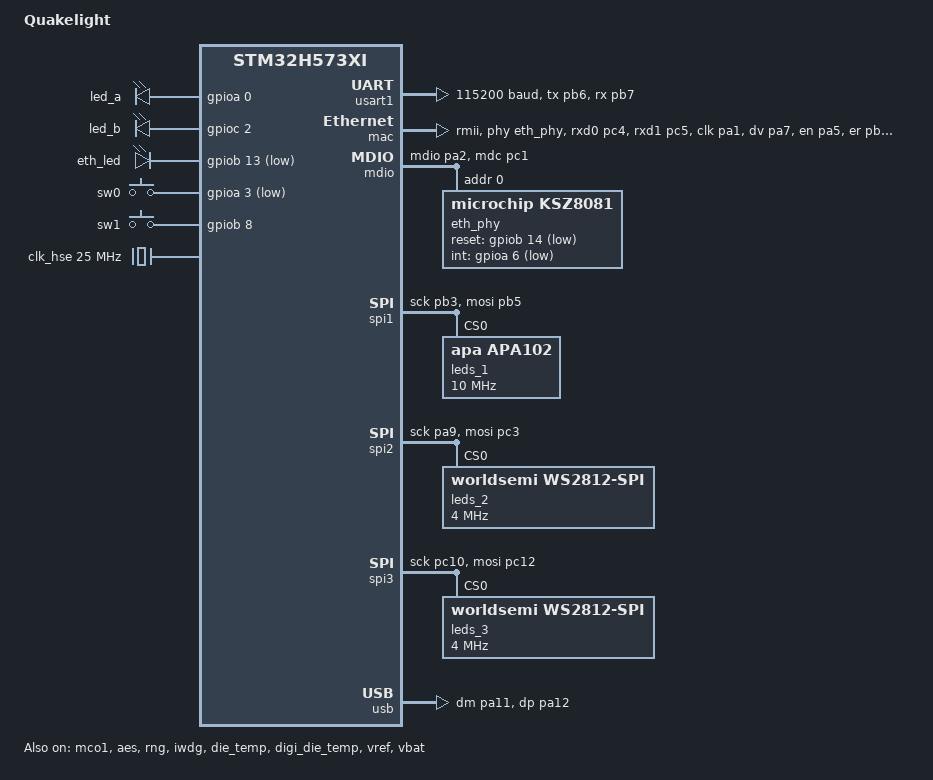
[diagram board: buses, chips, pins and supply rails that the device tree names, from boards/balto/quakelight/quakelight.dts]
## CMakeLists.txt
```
set(BOARD_ROOT ${CMAKE_CURRENT_LIST_DIR})
set(BOARD quakelight)

cmake_minimum_required(VERSION 3.20.0)
find_package(Zephyr REQUIRED HINTS $ENV{ZEPHYR_BASE})
project(quakelight)

target_sources(app PRIVATE
	src/blink.c
	src/keepalive.c
	src/leds.c
	src/main.c
	src/msg_listener.c
	src/net_led.c
	src/temp.c
)

target_sources_ifdef(CONFIG_WIFI app PRIVATE src/wifi_creds.c)
```

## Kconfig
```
config ETH_STM32_MULTICAST_FILTER
	default y

config SPI_STM32_DMA
	default y

config SPI_PL022_DMA
	default y

source "Kconfig.zephyr"
```

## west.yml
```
manifest:
  remotes:
    - name: zephyrproject-rtos
      url-base: https://github.com/zephyrproject-rtos

  projects:
    - name: zephyr
      remote: zephyrproject-rtos
      revision: main
      import:
        name-allowlist:
          - cmsis_6
          - hal_espressif
          - hal_infineon
          - hal_nxp
          - hal_rpi_pico
          - hal_stm32
          - mbedtls
          - segger
```

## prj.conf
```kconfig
CONFIG_GPIO=y
CONFIG_LOG=y
CONFIG_LOG_PROCESS_THREAD_SLEEP_MS=100
CONFIG_COMPILER_TRACK_MACRO_EXPANSION=n
CONFIG_REQUIRES_FULL_LIBC=y
CONFIG_ENTROPY_GENERATOR=y
CONFIG_MAIN_STACK_SIZE=1024

CONFIG_POSIX_API=y

CONFIG_THREAD_NAME=y

CONFIG_SHELL=y
CONFIG_LED=y
CONFIG_REBOOT=y
CONFIG_INPUT=y
CONFIG_DMA=y
CONFIG_LED_STRIP=y
CONFIG_SENSOR=y

CONFIG_LED_SHELL=y
CONFIG_NET_SHELL=y
CONFIG_INPUT_SHELL=y
CONFIG_INPUT_EVENT_DUMP=y

CONFIG_NETWORKING=y
CONFIG_NET_IPV4=y
CONFIG_NET_ARP=y
CONFIG_NET_UDP=y
CONFIG_NET_DHCPV4=y
CONFIG_NET_LOG=y
CONFIG_NET_SOCKETS=y
CONFIG_NET_SOCKETS_POLL_MAX=4

CONFIG_NET_HOSTNAME_ENABLE=y
CONFIG_NET_HOSTNAME="quakelight"
CONFIG_NET_HOSTNAME_DYNAMIC=y

CONFIG_NET_PKT_RX_COUNT=32
CONFIG_NET_PKT_TX_COUNT=32
CONFIG_NET_BUF_RX_COUNT=256
CONFIG_NET_BUF_TX_COUNT=256

CONFIG_NET_IF_UNICAST_IPV6_ADDR_COUNT=4
CONFIG_NET_IF_MCAST_IPV6_ADDR_COUNT=5
CONFIG_NET_IF_IPV6_PREFIX_COUNT=2

CONFIG_NET_IF_UNICAST_IPV4_ADDR_COUNT=2
CONFIG_NET_IF_MCAST_IPV4_ADDR_COUNT=5
```

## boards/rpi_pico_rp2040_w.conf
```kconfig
CONFIG_TEST_RANDOM_GENERATOR=y

#CONFIG_FLASH=y
#CONFIG_FLASH_PAGE_LAYOUT=y
#CONFIG_FLASH_MAP=y
#CONFIG_ZMS=y
#CONFIG_SETTINGS=y
#CONFIG_SETTINGS_SHELL=y
#CONFIG_SETTINGS_ZMS=y

CONFIG_NETWORKING=y
CONFIG_NET_L2_ETHERNET=y

CONFIG_WIFI=y
CONFIG_WIFI_CREDENTIALS=y
CONFIG_NET_L2_WIFI_SHELL=y
CONFIG_WIFI_CREDENTIALS_STATIC=y
CONFIG_WIFI_CREDENTIALS_STATIC_SSID="wifi-ssid"
CONFIG_WIFI_CREDENTIALS_STATIC_PASSWORD="wifi-pass"

CONFIG_SYSTEM_WORKQUEUE_STACK_SIZE=2048
CONFIG_SHELL_STACK_SIZE=4096
CONFIG_MAIN_STACK_SIZE=2048
CONFIG_NET_TX_STACK_SIZE=2048
CONFIG_NET_RX_STACK_SIZE=2048
CONFIG_NET_MGMT_EVENT_STACK_SIZE=1024
```

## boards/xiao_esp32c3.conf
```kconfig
CONFIG_FLASH=y
CONFIG_FLASH_PAGE_LAYOUT=y
CONFIG_FLASH_MAP=y
CONFIG_NVS=y
CONFIG_SETTINGS=y
CONFIG_SETTINGS_SHELL=y
CONFIG_SETTINGS_NVS=y

CONFIG_NETWORKING=y
CONFIG_NET_L2_ETHERNET=y

CONFIG_WIFI=y
CONFIG_WIFI_CREDENTIALS=y
CONFIG_NET_L2_WIFI_SHELL=y

CONFIG_SYSTEM_WORKQUEUE_STACK_SIZE=2048
CONFIG_SHELL_STACK_SIZE=4096
CONFIG_MAIN_STACK_SIZE=2048
CONFIG_NET_TX_STACK_SIZE=2048
CONFIG_NET_RX_STACK_SIZE=2048
CONFIG_NET_MGMT_EVENT_STACK_SIZE=1024
```

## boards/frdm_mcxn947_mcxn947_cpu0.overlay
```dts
#include <zephyr/dt-bindings/led/led.h>

&arduino_spi {
	leds_1: ws2812@0 {
		compatible = "worldsemi,ws2812-spi";

		reg = <0>;
		spi-max-frequency = <DT_FREQ_M(4)>;

		chain-length = <370>;
		color-mapping = <LED_COLOR_ID_GREEN
				 LED_COLOR_ID_RED
				 LED_COLOR_ID_BLUE>;
		spi-one-frame = <0x70>;
		spi-zero-frame = <0x40>;
	};
};

&mikrobus_spi {
	status = "okay";

	leds_2: ws2812@0 {
		compatible = "worldsemi,ws2812-spi";

		reg = <0>;
		spi-max-frequency = <DT_FREQ_M(4)>;

		chain-length = <370>;
		color-mapping = <LED_COLOR_ID_GREEN
				 LED_COLOR_ID_RED
				 LED_COLOR_ID_BLUE>;
		spi-one-frame = <0x70>;
		spi-zero-frame = <0x40>;
	};
};
```

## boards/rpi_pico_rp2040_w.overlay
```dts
#include <zephyr/dt-bindings/dma/rpi-pico-dma-rp2040.h>
#include <zephyr/dt-bindings/led/led.h>

&flash0 {
	partitions {
		partition@100 {
			reg = <0x100 (DT_SIZE_M(2) - 0x100 - 0x10000)>;
		};

		storage_partition: partition@1f0000 {
			label = "storage";
			reg = <(DT_SIZE_M(2) - 0x10000) 0x00010000>;
		};
	};
};

&spi0 {
	dmas = <&dma 0 RPI_PICO_DMA_SLOT_SPI0_TX 0>,
	       <&dma 1 RPI_PICO_DMA_SLOT_SPI0_RX 0>;
	dma-names = "tx", "rx";

	leds_1: ws2812@0 {
		compatible = "worldsemi,ws2812-spi";

		reg = <0>;
		spi-max-frequency = <DT_FREQ_M(4)>;

		chain-length = <370>;
		color-mapping = <LED_COLOR_ID_GREEN
				 LED_COLOR_ID_RED
				 LED_COLOR_ID_BLUE>;
		spi-one-frame = <0x70>;
		spi-zero-frame = <0x40>;
	};
};

&pinctrl {
	spi1_default: spi1_default {
		group1 {
			pinmux = <SPI1_CSN_P13>, <SPI1_SCK_P10>, <SPI1_TX_P11>;
		};

		group2 {
			pinmux = <SPI1_RX_P12>;
			input-enable;
		};
	};
};

&spi1 {
	clock-frequency = <DT_FREQ_M(8)>;
	status = "okay";
	pinctrl-0 = <&spi1_default>;
	pinctrl-names = "default";

	dmas = <&dma 2 RPI_PICO_DMA_SLOT_SPI1_TX 0>,
	       <&dma 3 RPI_PICO_DMA_SLOT_SPI1_RX 0>;
	dma-names = "tx", "rx";

	leds_2: ws2812@0 {
		compatible = "worldsemi,ws2812-spi";

		reg = <0>;
		spi-max-frequency = <DT_FREQ_M(4)>;

		chain-length = <370>;
		color-mapping = <LED_COLOR_ID_GREEN
				 LED_COLOR_ID_RED
				 LED_COLOR_ID_BLUE>;
		spi-one-frame = <0x70>;
		spi-zero-frame = <0x40>;
	};
};

&dma {
	status = "okay";
};
```

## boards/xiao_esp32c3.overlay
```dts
#include <zephyr/dt-bindings/led/led.h>

&spi2 {
	line-idle-low;

	dma-enabled;
	dmas = <&dma 0>, <&dma 1>;
	dma-names = "rx", "tx";

	leds_1: ws2812@0 {
		compatible = "worldsemi,ws2812-spi";

		reg = <0>;
		spi-max-frequency = <DT_FREQ_M(4)>;

		chain-length = <370>;
		color-mapping = <LED_COLOR_ID_GREEN
				 LED_COLOR_ID_RED
				 LED_COLOR_ID_BLUE>;
		spi-one-frame = <0x70>;
		spi-zero-frame = <0x40>;
	};
};

&pinctrl {
	i2s_default: i2s_default {
		group1 {
			pinmux = <I2S_O_SD_GPIO2>;
		};
	};
};

&i2s {
	status = "okay";

	pinctrl-0 = <&i2s_default>;
	pinctrl-names = "default";

	leds_2: ws2812@0 {
		compatible = "worldsemi,ws2812-i2s";
		reg = <0>;

		chain-length = <370>;
		color-mapping = <LED_COLOR_ID_GREEN
				 LED_COLOR_ID_RED
				 LED_COLOR_ID_BLUE>;
		reset-delay = <500>;
	};
};

&dma {
	status = "okay";
};
```

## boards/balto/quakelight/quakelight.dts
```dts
/dts-v1/;
#include <st/h5/stm32h573Xi.dtsi>
#include <st/h5/stm32h573rivx-pinctrl.dtsi>
#include <zephyr/dt-bindings/input/input-event-codes.h>
#include <zephyr/dt-bindings/led/led.h>

/ {
	model = "Quakelight";
	compatible = "balto,quakelight";

	chosen {
		zephyr,console = &usart1;
		zephyr,shell-uart = &usart1;
		zephyr,sram = &sram1;
		zephyr,flash = &flash0;
	};

	leds {
		compatible = "gpio-leds";

		led_a: led_a {
			gpios = <&gpioa 0 GPIO_ACTIVE_HIGH>;
		};

		led_b: led_b {
			gpios = <&gpioc 2 GPIO_ACTIVE_HIGH>;
		};

		eth_led: eth_led_0 {
			gpios = <&gpiob 13 GPIO_ACTIVE_LOW>;
		};
	};

	gpio_keys {
		compatible = "gpio-keys";

		sw0 {
			gpios = <&gpioa 3 (GPIO_ACTIVE_LOW | GPIO_PULL_UP)>;
			zephyr,code = <INPUT_KEY_0>;
		};

		sw1 {
			gpios = <&gpiob 8 GPIO_ACTIVE_HIGH>;
			zephyr,code = <INPUT_KEY_1>;
		};
	};

	aliases {
		led0 = &led_a;
		watchdog0 = &iwdg;
		die-temp0 = &die_temp;
		die-temp1 = &digi_die_temp;
		volt-sensor0 = &vref;
		volt-sensor1 = &vbat;
	};
};

&clk_hsi48 {
	status = "okay";
};

&clk_hse {
	clock-frequency = <DT_FREQ_M(25)>;
	status = "okay";
};

&pll {
	div-m = <5>;
	mul-n = <96>;
	div-p = <2>;
	div-q = <6>;
	div-r = <2>;
	clocks = <&clk_hse>;
	status = "okay";
};

&rcc {
	clocks = <&pll>;
	clock-frequency = <DT_FREQ_M(240)>;
	ahb-prescaler = <1>;
	apb1-prescaler = <2>;
	apb2-prescaler = <1>;
	apb3-prescaler = <1>;
};

&usart1 {
	pinctrl-0 = <&usart1_tx_pb6 &usart1_rx_pb7>;
	pinctrl-names = "default";
	current-speed = <115200>;
	status = "okay";
};

&mco1 {
	clocks = <&rcc STM32_SRC_HSE MCO1_SEL(2)>;
	prescaler = <MCO1_PRE(MCO_PRE_DIV_1)>;
	pinctrl-0 = <&rcc_mco_1_pa8>;
	pinctrl-names = "default";
	status = "okay";
};

&aes {
	status = "okay";
};

&rng {
	status = "okay";
};

&mac {
	status = "okay";
	pinctrl-0 = <&eth_rxd0_pc4
		     &eth_rxd1_pc5
		     &eth_ref_clk_pa1
		     &eth_crs_dv_pa7
		     &eth_tx_en_pa5
		     &eth_rx_er_pb10
		     &eth_txd0_pb12
		     &eth_txd1_pb15>;
	pinctrl-names = "default";
	phy-connection-type = "rmii";
	phy-handle = <&eth_phy>;
};

&mdio {
	status = "okay";
	pinctrl-0 = <&eth_mdio_pa2 &eth_mdc_pc1>;
	pinctrl-names = "default";

	eth_phy: ethernet-phy@0 {
		compatible = "microchip,ksz8081";
		reg = <0x00>;
		reset-gpios = <&gpiob 14 GPIO_ACTIVE_LOW>;
		int-gpios = <&gpioa 6 GPIO_ACTIVE_LOW>;
		microchip,interface-type = "rmii-25MHz";
	};
};

&iwdg {
	status = "okay";
};

&gpdma1 {
	status = "okay";
};

&gpdma2 {
	status = "okay";
};

&spi1 {
	pinctrl-0 = <&spi1_sck_pb3 &spi1_mosi_pb5>;
	pinctrl-names = "default";
	status = "okay";

	dmas = <&gpdma1 0 7 STM32_DMA_PERIPH_TX>,
	       <&gpdma1 1 6 STM32_DMA_PERIPH_RX>;
	dma-names = "tx", "rx";

	leds_1: apa102@0 {
		compatible = "apa,apa102";
		reg = <0>;
		spi-max-frequency = <DT_FREQ_M(10)>;
		chain-length = <60>;
		color-mapping = <LED_COLOR_ID_BLUE
				 LED_COLOR_ID_GREEN
				 LED_COLOR_ID_RED>;
	};
};

&spi2 {
	pinctrl-0 = <&spi2_sck_pa9 &spi2_mosi_pc3>;
	pinctrl-names = "default";
	status = "okay";

	dmas = <&gpdma1 2 9 STM32_DMA_PERIPH_TX>,
	       <&gpdma1 3 8 STM32_DMA_PERIPH_RX>;
	dma-names = "tx", "rx";

	leds_2: ws2812@0 {
		compatible = "worldsemi,ws2812-spi";

		reg = <0>;
		spi-max-frequency = <DT_FREQ_M(4)>;

		chain-length = <370>;
		color-mapping = <LED_COLOR_ID_GREEN
				 LED_COLOR_ID_RED
				 LED_COLOR_ID_BLUE>;
		spi-one-frame = <0x70>;
		spi-zero-frame = <0x40>;
	};
};

&spi3 {
	pinctrl-0 = <&spi3_sck_pc10 &spi3_mosi_pc12>;
	pinctrl-names = "default";
	status = "okay";

	dmas = <&gpdma1 4 11 STM32_DMA_PERIPH_TX>,
	       <&gpdma1 5 10 STM32_DMA_PERIPH_RX>;
	dma-names = "tx", "rx";

	leds_3: ws2812@0 {
		compatible = "worldsemi,ws2812-spi";

		reg = <0>;
		spi-max-frequency = <DT_FREQ_M(4)>;

		chain-length = <370>;
		color-mapping = <LED_COLOR_ID_GREEN
				 LED_COLOR_ID_RED
				 LED_COLOR_ID_BLUE>;
		spi-one-frame = <0x70>;
		spi-zero-frame = <0x40>;
	};
};

zephyr_udc0: &usb {
	pinctrl-0 = <&usb_dm_pa11 &usb_dp_pa12>;
	pinctrl-names = "default";
	status = "okay";
};

&die_temp {
	status = "okay";
};

&digi_die_temp {
	status = "okay";
};

&vref {
	status = "okay";
};

&vbat {
	status = "okay";
};
```

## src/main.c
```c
#include <zephyr/drivers/hwinfo.h>
#include <zephyr/kernel.h>
#include <zephyr/logging/log.h>
#include <zephyr/net/net_if.h>

LOG_MODULE_REGISTER(main, LOG_LEVEL_INF);

static void update_hostname(void)
{
	char hostname[32];
	uint8_t dev_id[16];
	ssize_t length;

	length = hwinfo_get_device_id(dev_id, sizeof(dev_id));

	if (length < 3) {
		LOG_ERR("unexpected hwinfo length: %d", length);
		return;
	}

	snprintf(hostname, sizeof(hostname), "%s-%02x%02x%02x",
		 CONFIG_NET_HOSTNAME,
		 dev_id[0], dev_id[1], dev_id[2]);

	LOG_INF("hostname=%s", hostname);

	net_hostname_set(hostname, strlen(hostname));
}

int main(void)
{
	LOG_INF("started");

	update_hostname();

#if CONFIG_NET_DHCPV4
	struct net_if *iface = net_if_get_default();

	if (!iface) {
		LOG_ERR("no default network interface");
		return 0;
	}

	net_dhcpv4_start(iface);
#endif

	k_sleep(K_FOREVER);
}
```

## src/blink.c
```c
#include <zephyr/drivers/led.h>
#include <zephyr/kernel.h>
#include <zephyr/logging/log.h>

LOG_MODULE_REGISTER(blink, LOG_LEVEL_INF);

static const struct led_dt_spec led_a = LED_DT_SPEC_GET_OR(DT_NODELABEL(led_a), {0});
static const struct led_dt_spec led_b = LED_DT_SPEC_GET_OR(DT_NODELABEL(led_b), {0});

static void blink_worker(struct k_work *work)
{
	if (!led_b.dev) {
		return;
	}

	led_off_dt(&led_b);
}

static K_WORK_DELAYABLE_DEFINE(blink_work, blink_worker);

void blink(void)
{
	if (!led_b.dev) {
		return;
	}

	led_on_dt(&led_b);

	k_work_reschedule(&blink_work, K_MSEC(100));
}

void ready(void)
{
	if (!led_a.dev) {
		return;
	}

	led_on_dt(&led_a);
}
```

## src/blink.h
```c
void blink(void);
void ready(void);
```

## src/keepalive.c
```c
#include <zephyr/kernel.h>
#include <zephyr/logging/log.h>
#include <zephyr/net/socket.h>
#include <zephyr/posix/arpa/inet.h>
#include <zephyr/posix/sys/socket.h>

LOG_MODULE_REGISTER(keepalive, LOG_LEVEL_INF);

#define PORT 9667
#define ADDR4 "239.255.6.6"
#define ADDR6 "ff12::fab:666"

static void wait_up(void)
{
	struct net_if *iface;

	iface = net_if_get_default();

	while (true) {
		if (net_if_is_up(iface)) {
			return;
		}

		k_sleep(K_MSEC(200));
	}
}

static char buf[64];

static int keepalive_thread(void)
{
	int sock;
	int sock6;
	struct sockaddr_in addr;
	struct sockaddr_in6 addr6;
	int ret;

	wait_up();

	sock = socket(AF_INET, SOCK_DGRAM, IPPROTO_UDP);
	if (sock < 0) {
		LOG_ERR("socket failed: %d", errno);
		return -errno;
	}

	sock6 = socket(AF_INET6, SOCK_DGRAM, IPPROTO_UDP);
	if (sock < 0) {
		LOG_ERR("socket failed: %d", errno);
		return -errno;
	}

	LOG_INF("open keepalive sockets");

	inet_pton(AF_INET, ADDR4, &addr.sin_addr);
	addr.sin_family = AF_INET;
	addr.sin_port = htons(PORT);

	inet_pton(AF_INET6, ADDR6, &addr6.sin6_addr);
	addr6.sin6_family = AF_INET6;
	addr6.sin6_port = htons(PORT);

	while (true) {
		int len = snprintf(buf, sizeof(buf), "ping %lld", k_uptime_get());

		ret = sendto(sock, buf, len, 0, (const struct sockaddr *)&addr, sizeof(addr));
		if (ret < 0) {
			LOG_WRN("sendto failed: %d", errno);
		}

		ret = sendto(sock6, buf, len, 0, (const struct sockaddr *)&addr6, sizeof(addr6));
		if (ret < 0) {
			LOG_WRN("sendto failed: %d", errno);
			return -ret;
		}

		k_sleep(K_SECONDS(1));
	}

	return 0;
}

K_THREAD_DEFINE(keepalive, 1024, keepalive_thread, NULL, NULL, NULL, 1, 0, 0);
```

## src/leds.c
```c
#include <zephyr/drivers/led_strip.h>
#include <zephyr/kernel.h>
#include <zephyr/logging/log.h>
#include <zephyr/random/random.h>
#include <zephyr/sys/util.h>

LOG_MODULE_REGISTER(leds, LOG_LEVEL_INF);

#define STRIP_1_NODE DT_NODELABEL(leds_1)
#define STRIP_2_NODE DT_NODELABEL(leds_2)
#define STRIP_3_NODE DT_NODELABEL(leds_3)

#define DEFINE_BUFS(n, node) \
	static struct led_rgb pixels_##n##_buf[DT_PROP_OR(node, chain_length, 0)]; \
	static struct led_rgb pixels_##n##_scratch[DT_PROP_OR(node, chain_length, 0)]; \
	static struct led_rgb pixels_##n##_target[DT_PROP_OR(node, chain_length, 0)]; \

DEFINE_BUFS(0, STRIP_1_NODE);
DEFINE_BUFS(1, STRIP_2_NODE);
DEFINE_BUFS(2, STRIP_3_NODE);

static struct {
	const struct device *dev;
	int num_pixels;
	struct led_rgb *px_buf;
	struct led_rgb *px_scratch;
	struct led_rgb *px_target;
} led_strip[] = {
	{
		.dev = DEVICE_DT_GET_OR_NULL(STRIP_1_NODE),
		.num_pixels = DT_PROP_OR(STRIP_1_NODE, chain_length, 0),
		.px_buf = pixels_0_buf,
		.px_scratch = pixels_0_scratch,
		.px_target = pixels_0_target,
	},
	{
		.dev = DEVICE_DT_GET_OR_NULL(STRIP_2_NODE),
		.num_pixels = DT_PROP_OR(STRIP_2_NODE, chain_length, 0),
		.px_buf = pixels_1_buf,
		.px_scratch = pixels_1_scratch,
		.px_target = pixels_1_target,
	},
	{
		.dev = DEVICE_DT_GET_OR_NULL(STRIP_3_NODE),
		.num_pixels = DT_PROP_OR(STRIP_3_NODE, chain_length, 0),
		.px_buf = pixels_2_buf,
		.px_scratch = pixels_2_scratch,
		.px_target = pixels_2_target,
	},
};

#define RGB(_r, _g, _b) { .r = (_r), .g = (_g), .b = (_b) }

#define LEVEL 0x60

static const struct led_rgb colors[] = {
	RGB(LEVEL, 0x00, 0x00), /* red */
	RGB(0x00, LEVEL, 0x00), /* green */
	RGB(0x00, 0x00, LEVEL), /* blue */

	RGB(LEVEL/2, LEVEL/2, 0x00),
	RGB(0x00, LEVEL/2, LEVEL/2),
	RGB(LEVEL/2, 0x00, LEVEL/2),

	RGB(LEVEL/3, LEVEL/3, LEVEL/3),
};

#define DELAY_TIME_MS 10
#define CYCLES 40
#define STEP (LEVEL / CYCLES)

static void step_pixel(struct led_rgb *value, struct led_rgb *target)
{
	if (value->r < target->r) {
		value->r = clamp(value->r + STEP, 0, LEVEL);
	} else {
		value->r = clamp(value->r - STEP, 0, LEVEL);
	}

	if (value->g < target->g) {
		value->g = clamp(value->g + STEP, 0, LEVEL);
	} else {
		value->g = clamp(value->g - STEP, 0, LEVEL);
	}

	if (value->b < target->b) {
		value->b = clamp(value->b + STEP, 0, LEVEL);
	} else {
		value->b = clamp(value->b - STEP, 0, LEVEL);
	}
}

static void leds_random(int id)
{
	const struct device *dev = led_strip[id].dev;
	int num_pixels = led_strip[id].num_pixels;
	struct led_rgb *pixels = led_strip[id].px_buf;
	struct led_rgb *scratch = led_strip[id].px_scratch;
	struct led_rgb *target = led_strip[id].px_target;

	int ret;

	if (num_pixels == 0) {
		return;
	}

	while (1) {
		for (uint16_t i = 0; i < num_pixels; i++) {
			uint8_t color;

			color = sys_rand8_get() % ARRAY_SIZE(colors);

			memcpy(&target[i], &colors[color], sizeof(struct led_rgb));
		}

		for (uint8_t i = 0; i < CYCLES; i++) {
			for (uint16_t i = 0; i < num_pixels; i++) {
				step_pixel(&pixels[i], &target[i]);
			}

			memcpy(scratch, pixels, sizeof(*pixels) * num_pixels);
			ret = led_strip_update_rgb(dev, scratch, num_pixels);
			if (ret) {
				LOG_ERR("led_strip_update_rgb error: %d", ret);
			}

			k_sleep(K_MSEC(DELAY_TIME_MS));
		}
	}
}

static void leds_sequence(int id)
{
	const struct device *dev = led_strip[id].dev;
	int num_pixels = led_strip[id].num_pixels;
	struct led_rgb *pixels = led_strip[id].px_buf;
	struct led_rgb *scratch = led_strip[id].px_scratch;

	int ret;

	if (num_pixels == 0) {
		return;
	}

	int i = 0;
	while (1) {
		memset(pixels, 0, sizeof(*pixels) * num_pixels);

		memcpy(&pixels[i], &colors[6], sizeof(struct led_rgb));

		memcpy(scratch, pixels, sizeof(*pixels) * num_pixels);
		ret = led_strip_update_rgb(dev, scratch, num_pixels);
		if (ret) {
			LOG_ERR("led_strip_update_rgb error: %d", ret);
		}

		k_sleep(K_MSEC(DELAY_TIME_MS));

		i = (i + 1) % num_pixels;
	}
}

static void leds_color_sequence(int id)
{
	const struct device *dev = led_strip[id].dev;
	int num_pixels = led_strip[id].num_pixels;
	struct led_rgb *pixels = led_strip[id].px_buf;
	struct led_rgb *scratch = led_strip[id].px_scratch;

	int ret;

	if (num_pixels == 0) {
		return;
	}

	memset(pixels, 0, sizeof(*pixels) * num_pixels);

	int i = 0;
	int j = 0;
	while (1) {
		memcpy(&pixels[i], &colors[j], sizeof(struct led_rgb));

		memcpy(scratch, pixels, sizeof(*pixels) * num_pixels);
		ret = led_strip_update_rgb(dev, scratch, num_pixels);
		if (ret) {
			LOG_ERR("led_strip_update_rgb error: %d", ret);
		}

		k_sleep(K_MSEC(DELAY_TIME_MS));

		i = (i + 1) % num_pixels;
		if (i == 0)
			j = (j + 1) % 7;
	}
}

static void leds_thread(void *p1, void *p2, void *p3)
{
	int id = (int)p1;
	const struct device *dev = led_strip[id].dev;

	if (!dev) {
		LOG_INF("LED strip device %d is NULL", id);
		return;
	}

	if (!device_is_ready(dev)) {
		LOG_ERR("LED strip device %s is not ready", dev->name);
		return;
	}

	switch (id) {
	case 0:
		leds_random(id);
		break;
	case 1:
		leds_sequence(id);
		break;
	case 2:
		leds_color_sequence(id);
		break;
	}

	k_sleep(K_FOREVER);
}

K_THREAD_DEFINE(leds_1, 1024, leds_thread, 0, NULL, NULL, 1, 0, 0);
K_THREAD_DEFINE(leds_2, 1024, leds_thread, 1, NULL, NULL, 1, 0, 0);
K_THREAD_DEFINE(leds_3, 1024, leds_thread, 2, NULL, NULL, 1, 0, 0);
```

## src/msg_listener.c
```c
#include <zephyr/kernel.h>
#include <zephyr/logging/log.h>
#include <zephyr/net/socket.h>
#include <zephyr/posix/arpa/inet.h>
#include <zephyr/posix/sys/socket.h>

LOG_MODULE_REGISTER(msg_listener, LOG_LEVEL_INF);

#include "blink.h"

#define PORT 9666
#define ADDR4 "239.255.6.6"

static uint8_t buf[1024];

static void wait_up(void)
{
	struct net_if *iface;

	iface = net_if_get_default();

	while (true) {
		if (net_if_is_up(iface)) {
			return;
		}

		k_sleep(K_MSEC(200));
	}
}

static int open_mcast4(void)
{
	struct sockaddr_in addr4;
	struct ip_mreqn mreqn;
	int optval;
	int sock;
	int ret;

	sock = socket(AF_INET, SOCK_DGRAM, IPPROTO_UDP);
	if (sock < 0) {
		LOG_ERR("socket failed: %d", errno);
		return -errno;
	}

	optval = 1;
	ret = setsockopt(sock, SOL_SOCKET, SO_REUSEADDR, &optval, sizeof(optval));
	if (ret < 0) {
		LOG_ERR("setsockopt failed: %d", errno);
		return -errno;
	}

	memset(&addr4, 0, sizeof(addr4));
	addr4.sin_family = AF_INET;
	addr4.sin_port = htons(PORT);

	ret = bind(sock, (struct sockaddr *)&addr4, sizeof(addr4));
	if (ret < 0) {
		LOG_ERR("bind failed: %d", errno);
		return -errno;
	}

	memset(&mreqn, 0, sizeof(mreqn));
	inet_pton(AF_INET, ADDR4, &mreqn.imr_multiaddr);
	mreqn.imr_ifindex = net_if_get_by_iface(net_if_get_default());

	ret = setsockopt(sock, IPPROTO_IP, IP_ADD_MEMBERSHIP, &mreqn, sizeof(mreqn));
	if (ret < 0) {
		LOG_ERR("setsockopt failed: %d", errno);
		return -errno;
	}

	return sock;
}

static int listener_thread4(void)
{
	int sock;
	int ret;

	wait_up();

	ready();

	sock = open_mcast4();
	if (sock < 0) {
		return sock;
	}

	LOG_INF("open socket 4");

#if 0
	int xx = 0;
#endif
	while (true) {
		struct sockaddr_in client_addr;
		socklen_t client_addr_len = sizeof(client_addr);

		ret = recvfrom(sock, buf, sizeof(buf), 0,
			       (struct sockaddr *)&client_addr, &client_addr_len);
		if (ret < 0) {
			LOG_ERR("recvfrom failed: %d", errno);
			continue;
		}

#if 0
		char abuf[NET_IPV4_ADDR_LEN];
		LOG_INF("recv from: %s",
			net_addr_ntop(AF_INET, &client_addr.sin_addr, abuf, sizeof(abuf)));
		LOG_HEXDUMP_INF(buf, ret, "buf");
#endif

		blink();

#if 0
		buf[ret] = '\0';
		int x = strtol(buf, NULL, 10);
		if (x != xx + 1) {
			LOG_INF("sequence error: %d", x);
		}
		xx = x;
#endif
	}

	return 0;
}

K_THREAD_DEFINE(listener4, 1024, listener_thread4, NULL, NULL, NULL, 1, 0, 0);

#define ADDR6 "ff12::fab:666"

static int open_mcast6(void)
{
	struct sockaddr_in6 addr6;
	struct ipv6_mreq mreq;
	int optval;
	int sock;
	int ret;

	sock = socket(AF_INET6, SOCK_DGRAM, IPPROTO_UDP);
	if (sock < 0) {
		LOG_ERR("socket failed: %d", errno);
		return -errno;
	}

	optval = 1;
	ret = setsockopt(sock, SOL_SOCKET, SO_REUSEADDR, &optval, sizeof(optval));
	if (ret < 0) {
		LOG_ERR("setsockopt failed: %d", errno);
		return -errno;
	}

	memset(&addr6, 0, sizeof(addr6));
	addr6.sin6_family = AF_INET6;
	addr6.sin6_port = htons(PORT);
	addr6.sin6_addr = net_in6addr_any;

	ret = bind(sock, (struct sockaddr *)&addr6, sizeof(addr6));
	if (ret < 0) {
		LOG_ERR("bind failed: %d", errno);
		return -errno;
	}

	memset(&mreq, 0, sizeof(mreq));
	inet_pton(AF_INET6, ADDR6, &mreq.ipv6mr_multiaddr);
	mreq.ipv6mr_ifindex = net_if_get_by_iface(net_if_get_default());

	ret = setsockopt(sock, IPPROTO_IPV6, IPV6_JOIN_GROUP, &mreq, sizeof(mreq));
	if (ret < 0) {
		LOG_ERR("setsockopt failed: %d", errno);
		return -errno;
	}

	return sock;
}

static int listener_thread6(void)
{
	int sock;
	int ret;

	wait_up();

	ready();

	sock = open_mcast6();
	if (sock < 0) {
		return sock;
	}

	LOG_INF("open socket 6");

	while (true) {
		struct sockaddr_in6 client_addr;
		socklen_t client_addr_len = sizeof(client_addr);
		char abuf[NET_IPV6_ADDR_LEN];

		ret = recvfrom(sock, buf, sizeof(buf), 0,
			       (struct sockaddr *)&client_addr, &client_addr_len);
		if (ret < 0) {
			LOG_ERR("recvfrom failed: %d", errno);
			continue;
		}

		LOG_INF("recv from: %s",
			net_addr_ntop(AF_INET6, &client_addr.sin6_addr, abuf, sizeof(abuf)));
		LOG_HEXDUMP_INF(buf, ret, "buf");

		blink();
	}

	return 0;
}

K_THREAD_DEFINE(listener6, 1024, listener_thread6, NULL, NULL, NULL, 1, 0, 0);
```

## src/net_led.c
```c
#include <zephyr/drivers/led.h>
#include <zephyr/kernel.h>
#include <zephyr/logging/log.h>
#include <zephyr/net/net_if.h>
#include <zephyr/net/net_mgmt.h>

LOG_MODULE_REGISTER(net_led, LOG_LEVEL_INF);

#if DT_NODE_EXISTS(DT_NODELABEL(eth_led))

static const struct led_dt_spec eth_led = LED_DT_SPEC_GET(DT_NODELABEL(eth_led));

static void iface_up_handler(struct net_mgmt_event_callback *cb,
			     uint64_t mgmt_event, struct net_if *iface)
{
	switch (mgmt_event) {
	case NET_EVENT_IF_UP:
		led_on_dt(&eth_led);
		break;
	case NET_EVENT_IF_DOWN:
		led_off_dt(&eth_led);
		break;
	}
}

struct net_mgmt_event_callback iface_up_cb;

static int net_led_init(void)
{
	net_mgmt_init_event_callback(&iface_up_cb, iface_up_handler,
				     NET_EVENT_IF_UP | NET_EVENT_IF_DOWN);
	net_mgmt_add_event_callback(&iface_up_cb);

	led_on_dt(&eth_led);
	k_sleep(K_MSEC(200));
	led_off_dt(&eth_led);

	return 0;
}

SYS_INIT(net_led_init, APPLICATION, 0);
#endif
```

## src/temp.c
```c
#include <zephyr/kernel.h>
#include <zephyr/logging/log.h>
#include <zephyr/shell/shell.h>
#include <zephyr/drivers/sensor.h>

LOG_MODULE_REGISTER(temp, LOG_LEVEL_INF);

static const struct device *temp_dev = DEVICE_DT_GET_OR_NULL(DT_NODELABEL(digi_die_temp));

static bool temp_log_on;

static void temp_worker(struct k_work *work);

static K_WORK_DELAYABLE_DEFINE(temp_work, temp_worker);

static void print_temp()
{
	struct sensor_value val;
	double temp;

	sensor_sample_fetch_chan(temp_dev, SENSOR_CHAN_DIE_TEMP);

	sensor_channel_get(temp_dev, SENSOR_CHAN_DIE_TEMP, &val);
	temp = sensor_value_to_float(&val);

	LOG_INF("t=%.1f", temp);
}

static void temp_worker(struct k_work *work)
{
	if (!temp_log_on) {
		return;
	}

	print_temp();

	k_work_reschedule(&temp_work, K_SECONDS(1));
}

static int cmd_temp(const struct shell *sh, size_t argc, char **argv)
{
	if (temp_dev == NULL) {
		return -ENODEV;
	}

	if (argc == 2) {
		int err = 0;
		bool en;

		en = shell_strtobool(argv[1], 0, &err);
		if (err) {
			shell_error(sh, "Invalid argument: %s", argv[2]);
			return err;
		}

		temp_log_on = en;

		if (en) {
			k_work_reschedule(&temp_work, K_SECONDS(1));
		}

		return 0;
	}

	print_temp();

	return 0;
}

SHELL_CMD_ARG_REGISTER(temp, NULL, "Temperature", cmd_temp, 0, 1);
```

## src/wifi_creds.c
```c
#include <zephyr/init.h>
#include <zephyr/kernel.h>
#include <zephyr/logging/log.h>
#include <zephyr/net/net_core.h>
#include <zephyr/net/net_if.h>
#include <zephyr/net/net_mgmt.h>
#include <zephyr/net/net_mgmt.h>
#include <zephyr/net/wifi_mgmt.h>

LOG_MODULE_REGISTER(wifi_creds, LOG_LEVEL_INF);

#define WIFI_CONN_RETRY_SECS 5

static void wifi_conn_handler(struct k_work *work);

K_WORK_DELAYABLE_DEFINE(wifi_conn_dwork, wifi_conn_handler);

static void wifi_conn_handler(struct k_work *work)
{
	struct net_if *iface = net_if_get_first_wifi();
	struct wifi_iface_status status = {0};
	int ret;

	ret = net_mgmt(NET_REQUEST_WIFI_IFACE_STATUS, iface, &status,
		       sizeof(struct wifi_iface_status));
	if (ret != 0) {
		LOG_WRN("Status request failed: %d", ret);
		goto out;
	}

	if (status.state == WIFI_STATE_DISCONNECTED ||
	    status.state == WIFI_STATE_INACTIVE) {
		LOG_INF("Trying to connect");
		ret = net_mgmt(NET_REQUEST_WIFI_CONNECT_STORED, iface, NULL, 0);
		if (ret != 0) {
			LOG_WRN("Autoconnect failed: %d", ret);
		}
	} else if (status.state >= WIFI_STATE_ASSOCIATED) {
		goto out;
	} else {
		LOG_INF("WiFi status: %s", wifi_state_txt(status.state));
	}

out:
	k_work_schedule(&wifi_conn_dwork, K_SECONDS(WIFI_CONN_RETRY_SECS));
}

static int wifi_conn(void)
{
	k_work_schedule(&wifi_conn_dwork, K_SECONDS(WIFI_CONN_RETRY_SECS));

	return 0;
}
SYS_INIT(wifi_conn, APPLICATION, 91);
```
